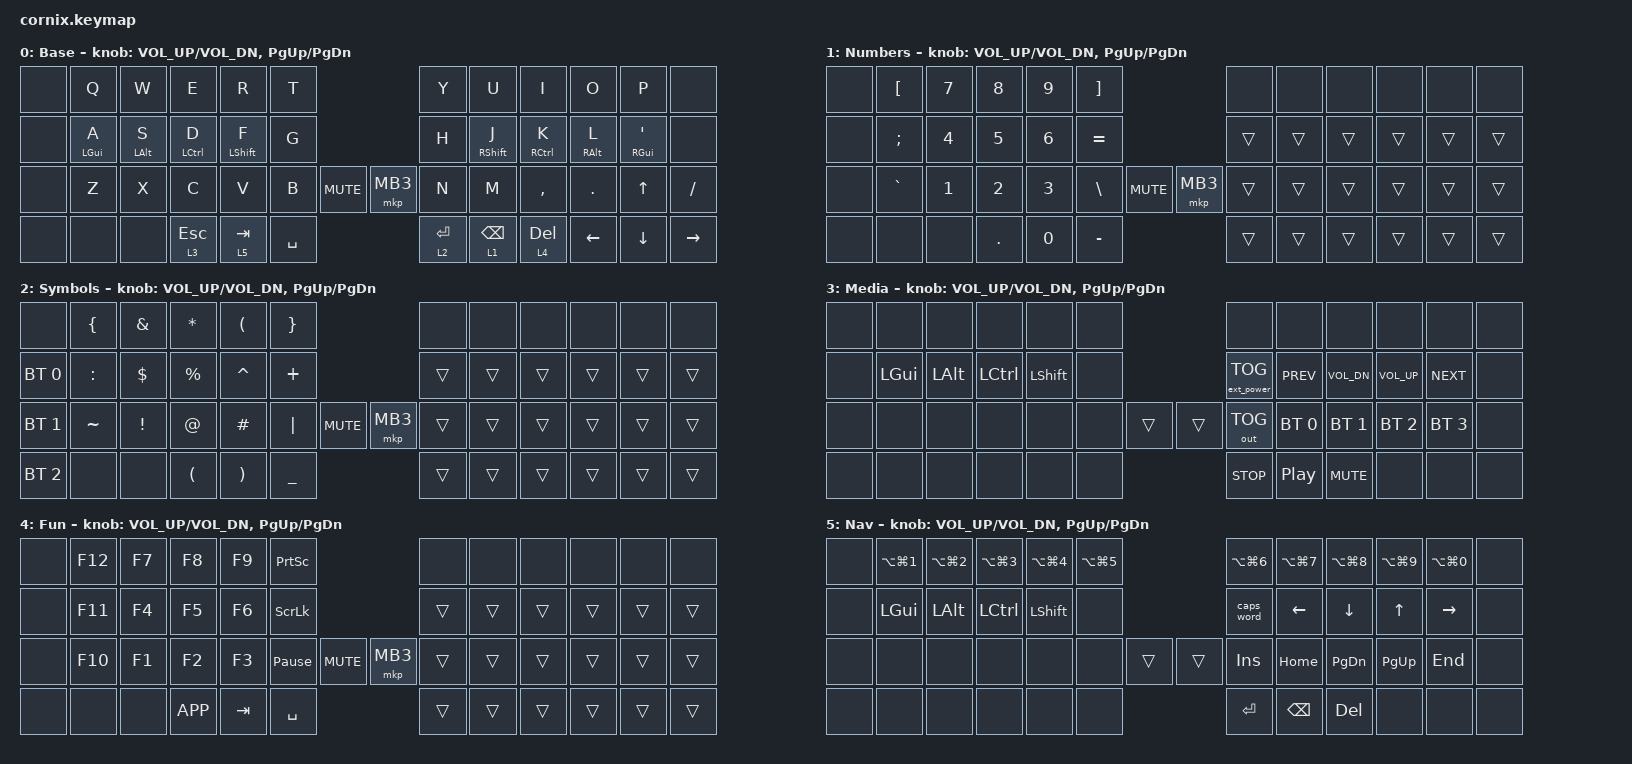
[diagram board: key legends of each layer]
/*
 * Copyright (c) 2020 The ZMK Contributors
 *
 * SPDX-License-Identifier: MIT
 */

#include "zmk-helpers/helper.h"
#include "includes/cornix54.h"
#include <behaviors.dtsi>
#include <dt-bindings/zmk/bt.h>
#include <dt-bindings/zmk/keys.h>

// tap windows for ctl alt and gui

#define HM_TAPPING_TERM 250
#define HM_TAPPING_REPEAT 210

// https://github.com/manna-harbour/miryoku_zmk - miryoku_behaviors.dtsi/.h, miryoku.h:26
#define U_TAPPING_TERM 200
#define BASE 0
#define WIN 1
#define LOWER 2
#define MEDIA  3
#define FUN    4
#define NAV    5
#define ZMK_POINTING_DEFAULT_SCRL_VAL 15

#include <behaviors.dtsi>
#include <dt-bindings/zmk/bt.h>
#include <dt-bindings/zmk/ext_power.h>
#include <dt-bindings/zmk/keys.h>
#include <dt-bindings/zmk/pointing.h>
#include <dt-bindings/zmk/outputs.h>

/ {
    behaviors {
        // https://github.com/manna-harbour/miryoku_zmk - miryoku_behaviors.dtsi
        // Non-positional: tap/hold resolved purely by tapping-term-ms, regardless
        // of which other key is pressed meanwhile (no hold-trigger-key-positions).
        u_mt: u_mt {
            compatible = "zmk,behavior-hold-tap";
            #binding-cells = <2>;
            bindings = <&kp>, <&kp>;

            flavor = "tap-preferred";
            tapping-term-ms = <U_TAPPING_TERM>;
        };

        /*
         * Non-Positional Homerow Mods
         * Used for &mm_grescm_gui behavior on left hand.
         *
         * Usage: &hm LSHFT T
         * Tap: T
         * Tap-Tap-Hold: Repeat T
         * Hold: LSHIFT
         */

        hm: homerow_mods {
            compatible = "zmk,behavior-hold-tap";
            #binding-cells = <2>;
            bindings = <&kp>, <&kp>;

            flavor = "balanced";
            tapping-term-ms = <HM_TAPPING_TERM>;
            quick-tap-ms = <200>;
        };

        lt: layer_tap {
            compatible = "zmk,behavior-hold-tap";
            #binding-cells = <2>;
            bindings = <&mo>, <&kp>;

            flavor = "hold-preferred";
            tapping-term-ms = <HM_TAPPING_TERM>;
            quick-tap-ms = <200>;
        };

        // Tap-preferred layer-tap (Miryoku formula) for all thumb layer keys
        // (Esc, Tab, Enter, Backspace, Delete): another key pressed during
        // the term resolves as the TAP, so fast typing never leaks the layer.
        tp_lt: tp_lt {
            compatible = "zmk,behavior-hold-tap";
            #binding-cells = <2>;
            bindings = <&mo>, <&kp>;

            flavor = "tap-preferred";
            tapping-term-ms = <U_TAPPING_TERM>;
            quick-tap-ms = <200>;
        };
    };

    keymap {
        compatible = "zmk,keymap";

        // ---- Reading the layer diagrams ---------------------------------------
        // Every layer below carries an ASCII map of the board, laid out the way
        // the keys actually sit under your hands. The two centre cells in the
        // third row are the encoder-click keys; the blank centre gaps in the
        // other rows are where no key exists.
        //
        //   .          unused (&none)
        //   ...        transparent - falls through to the layer below (&trans)
        //   X/Y        tap X, hold Y
        //              home row mods: G = Gui, A = Alt, C = Ctrl, S = Shift
        //   NUM SYM MEDIA FUN NAV               hold to reach that layer
        //   BT0 - BT3  select Bluetooth profile
        //   DskN       switch to macOS desktop N
        //   MB3        middle mouse button (encoder click)
        //
        // The diagrams describe the bindings underneath them - change a binding
        // and its diagram needs the same change.
        // -------------------------------------------------------------------------

        default_layer {
            display-name = "Base";

            // QWERTY alphas with GACS home row mods - pinky to index, Gui Alt
            // Ctrl Shift, mirrored on both hands. The outer left column is
            // unused. Left thumbs: Esc/Media, Tab/Nav, Space. Right
            // thumbs: Ent/Sym, Bksp/Num, Del/Fun (tap = key, hold = layer).
            //
            // +-------------------------------------------------------------------------------------------------------------------------------------------+
            // |    .    |    Q    |    W    |    E    |    R    |    T    |         |         |    Y    |    U    |    I    |    O    |    P    |    .    |
            // |    .    |   A/G   |   S/A   |   D/C   |   F/S   |    G    |         |         |    H    |   J/S   |   K/C   |   L/A   |   '/G   |    .    |
            // |    .    |    Z    |    X    |    C    |    V    |    B    |   MUTE  |   MB3   |    N    |    M    |    ,    |    .    |    UP   |    /    |
            // |    .    |    .    |    .    |Esc/Media| Tab/Nav |  Space  |         |         | Ent/Sym | Bksp/Num| Del/Fun |   LEFT  |   DOWN  |   RGHT  |
            // +-------------------------------------------------------------------------------------------------------------------------------------------+
            bindings = <
&none      &kp Q          &kp W          &kp E          &kp R                  &kp T                            &kp Y      &kp U                &kp I          &kp O          &kp P            &none
&none      &u_mt LGUI A   &u_mt LALT S   &u_mt LCTRL D  &u_mt LSHFT F          &kp G                            &kp H      &u_mt RSHFT J        &u_mt RCTRL K  &u_mt RALT L   &u_mt RGUI SQT  &none
&none      &kp Z          &kp X          &kp C          &kp V                  &kp B          &kp C_MUTE  &mkp MB3  &kp N      &kp M                &kp COMMA      &kp DOT        &kp UP           &kp FSLH
&none      &none          &none          &tp_lt 3 ESCAPE   &tp_lt 5 TAB             &kp SPACE                   &tp_lt 2 ENTER   &tp_lt 1 BACKSPACE  &tp_lt 4 DEL   &kp LEFT       &kp DOWN         &kp RIGHT
            >;
            sensor-bindings = <&inc_dec_kp C_VOL_UP C_VOL_DN &inc_dec_kp PG_UP PG_DN>;
        };

        win_layer {
            display-name = "Numbers";

            // Miryoku-style number layer: a numpad block under the left hand,
            // with ` ; = \ on the free slots and Dot, 0, Minus on the left
            // thumb keys. The right hand stays transparent, so the right home
            // row mods still work. Activated by holding Backspace (tap = Bksp).
            //
            // +-------------------------------------------------------------------------------------------------------------------------------------------+
            // |    .    |    [    |    7    |    8    |    9    |    ]    |         |         |    .    |    .    |    .    |    .    |    .    |    .    |
            // |    .    |    ;    |    4    |    5    |    6    |    =    |         |         |   ...   |   ...   |   ...   |   ...   |   ...   |   ...   |
            // |    .    |    `    |    1    |    2    |    3    |    \    |   MUTE  |   MB3   |   ...   |   ...   |   ...   |   ...   |   ...   |   ...   |
            // |    .    |    .    |    .    |   Dot   |    0    |    -    |         |         |   ...   |   ...   |   ...   |   ...   |   ...   |   ...   |
            // +-------------------------------------------------------------------------------------------------------------------------------------------+
            bindings = <
&none  &kp LBKT   &kp N7   &kp N8   &kp N9   &kp RBKT                      &none  &none  &none  &none  &none  &none
&none       &kp SEMI  &kp N4   &kp N5   &kp N6   &kp EQUAL                    &trans &trans &trans &trans &trans &trans
&none       &kp GRAVE &kp N1   &kp N2   &kp N3   &kp BSLH   &kp C_MUTE  &mkp MB3  &trans &trans &trans &trans &trans &trans
&none       &none    &none    &kp DOT  &kp N0    &kp MINUS                       &trans &trans &trans &trans &trans &trans
            >;
            sensor-bindings = <&inc_dec_kp C_VOL_UP C_VOL_DN &inc_dec_kp PG_UP PG_DN>;
        };

        Symbol_layer {
            display-name = "Symbols";

            // Miryoku-style symbol layer - the same numpad geometry as
            // Numbers, with the shifted symbols. The right hand stays
            // transparent, so the right home row mods still work. Activated
            // by holding Enter (tap = Enter). The left outer column keeps
            // the BT profiles.
            //
            // +-------------------------------------------------------------------------------------------------------------------------------------------+
            // |    .    |    {    |    &    |    *    |    (    |    }    |         |         |    .    |    .    |    .    |    .    |    .    |    .    |
            // |   BT0   |    :    |    $    |    %    |    ^    |    +    |         |         |   ...   |   ...   |   ...   |   ...   |   ...   |   ...   |
            // |   BT1   |    ~    |    !    |    @    |    #    |    |    |   MUTE  |   MB3   |   ...   |   ...   |   ...   |   ...   |   ...   |   ...   |
            // |   BT2   |    .    |    .    |    (    |    )    |    _    |         |         |   ...   |   ...   |   ...   |   ...   |   ...   |   ...   |
            // +-------------------------------------------------------------------------------------------------------------------------------------------+
            bindings = <
&none        &kp LBRC   &kp AMPS   &kp ASTRK  &kp LPAR   &kp RBRC                      &none  &none  &none  &none  &none  &none
&bt BT_SEL 0 &kp COLON  &kp DLLR   &kp PRCNT  &kp CARET  &kp PLUS                      &trans &trans &trans &trans &trans &trans
&bt BT_SEL 1 &kp TILDE  &kp EXCL   &kp AT     &kp HASH   &kp PIPE   &kp C_MUTE  &mkp MB3  &trans &trans &trans &trans &trans &trans
&bt BT_SEL 2 &none       &none      &kp LPAR   &kp RPAR   &kp UNDER                     &trans &trans &trans &trans &trans &trans
            >;
            sensor-bindings = <&inc_dec_kp C_VOL_UP C_VOL_DN &inc_dec_kp PG_UP PG_DN>;
        };

        Media_layer {
            display-name = "Media";

            // Media in the Miryoku arrangement: EP toggle, prev / volume /
            // next on the right-hand home row, output toggle and Bluetooth
            // profiles on the bottom row, stop / play-pause / mute on the
            // right thumbs. The left home row is plain mods. RGB omitted -
            // the halves have no RGB. Activated by holding Esc (tap = Esc).
            //
            // +-------------------------------------------------------------------------------------------------------------------------------------------+
            // |    .    |    .    |    .    |    .    |    .    |    .    |         |         |    .    |    .    |    .    |    .    |    .    |    .    |
            // |    .    |   Gui   |   Alt   |   Ctrl  |  Shift  |    .    |         |         |  EP-tog |   Prev  |  Vol-dn |  Vol-up |   Next  |    .    |
            // |    .    |    .    |    .    |    .    |    .    |    .    |   ...   |   ...   |  Out-tg |   BT0   |   BT1   |   BT2   |   BT3   |    .    |
            // |    .    |    .    |    .    |    .    |    .    |    .    |         |         |   Stop  |    PP   |   Mute  |    .    |    .    |    .    |
            // +-------------------------------------------------------------------------------------------------------------------------------------------+
            bindings = <
&none &none &none &none &none &none                    &none &none &none &none &none &none
&none &kp LGUI &kp LALT &kp LCTRL &kp LSHFT &none                    &ext_power EP_TOG &kp C_PREV &kp C_VOL_DN &kp C_VOL_UP &kp C_NEXT &none
&none &none &none &none &none &none     &trans &trans            &out OUT_TOG &bt BT_SEL 0 &bt BT_SEL 1 &bt BT_SEL 2 &bt BT_SEL 3 &none
&none &none &none &none &none &none                    &kp C_STOP &kp C_PP &kp C_MUTE &none &none &none
            >;
            sensor-bindings = <&inc_dec_kp C_VOL_UP C_VOL_DN &inc_dec_kp PG_UP PG_DN>;
        };

        Fun_layer {
            display-name = "Fun";

            // F-keys in the Miryoku arrangement, plus PrtSc/ScrLk/Pause on
            // the free slots and App/Tab/Space on the left thumbs. The right
            // hand stays transparent, so the right home row mods still work.
            // Activated by holding Delete on Base (tap = Del).
            //
            // +-------------------------------------------------------------------------------------------------------------------------------------------+
            // |    .    |   F12   |    F7   |    F8   |    F9   |  PrtSc  |         |         |    .    |    .    |    .    |    .    |    .    |    .    |
            // |    .    |   F11   |    F4   |    F5   |    F6   |  ScrLk  |         |         |   ...   |   ...   |   ...   |   ...   |   ...   |   ...   |
            // |    .    |   F10   |    F1   |    F2   |    F3   |  Pause  |   MUTE  |   MB3   |   ...   |   ...   |   ...   |   ...   |   ...   |   ...   |
            // |    .    |    .    |    .    |   App   |   Tab   |  Space  |         |         |   ...   |   ...   |   ...   |   ...   |   ...   |   ...   |
            // +-------------------------------------------------------------------------------------------------------------------------------------------+
            bindings = <
&none  &kp F12  &kp F7   &kp F8   &kp F9   &kp PSCRN                    &none  &none  &none  &none  &none  &none
&none  &kp F11  &kp F4   &kp F5   &kp F6   &kp SLCK                     &trans &trans &trans &trans &trans &trans
&none  &kp F10  &kp F1   &kp F2   &kp F3   &kp PAUSE_BREAK  &kp C_MUTE  &mkp MB3  &trans &trans &trans &trans &trans &trans
&none  &none    &none    &kp K_APP  &kp TAB  &kp SPACE                       &trans &trans &trans &trans &trans &trans
            >;
            sensor-bindings = <&inc_dec_kp C_VOL_UP C_VOL_DN &inc_dec_kp PG_UP PG_DN>;
        };

        Nav_layer {
            display-name = "Nav";

            // Navigation in the Miryoku arrangement: cursor keys with
            // auto-repeat on the right-hand home row, Ins / Home / PgDn /
            // PgUp / End on the bottom row, and Enter / Backspace / Delete
            // on the right thumbs for editing in place. Caps Word on the
            // inner index. The left home row is plain mods.
            // The top row switches macOS desktops 1..10 (Cmd+Opt+1..9 and
            // Cmd+Opt+0): Q..T = 1..5, Y..P = 6..10.
            // Activated by holding Tab on Base (tap = Tab).
            //
            // +-------------------------------------------------------------------------------------------------------------------------------------------+
            // |    .    |   Dsk1  |   Dsk2  |   Dsk3  |   Dsk4  |   Dsk5  |         |         |   Dsk6  |   Dsk7  |   Dsk8  |   Dsk9  |  Dsk10  |    .    |
            // |    .    |   Gui   |   Alt   |   Ctrl  |  Shift  |    .    |         |         |  CapsWr |    ←    |    ↓    |    ↑    |    →    |    .    |
            // |    .    |    .    |    .    |    .    |    .    |    .    |   ...   |   ...   |   Ins   |   Home  |   PgDn  |   PgUp  |   End   |    .    |
            // |    .    |    .    |    .    |    .    |    .    |    .    |         |         |   Ent   |   Bksp  |   Del   |    .    |    .    |    .    |
            // +-------------------------------------------------------------------------------------------------------------------------------------------+
            bindings = <
&none &kp LA(LG(N1)) &kp LA(LG(N2)) &kp LA(LG(N3)) &kp LA(LG(N4)) &kp LA(LG(N5))                    &kp LA(LG(N6)) &kp LA(LG(N7)) &kp LA(LG(N8)) &kp LA(LG(N9)) &kp LA(LG(N0)) &none
&none &kp LGUI &kp LALT &kp LCTRL &kp LSHFT &none                    &caps_word     &kp LEFT       &kp DOWN       &kp UP         &kp RIGHT      &none
&none &none &none &none &none &none     &trans &trans            &kp INS        &kp HOME       &kp PG_DN      &kp PG_UP      &kp END        &none
&none &none &none &none &none &none                          &kp ENTER      &kp BSPC       &kp DEL        &none &none &none
            >;
            sensor-bindings = <&inc_dec_kp C_VOL_UP C_VOL_DN &inc_dec_kp PG_UP PG_DN>;
        };
    };
};
